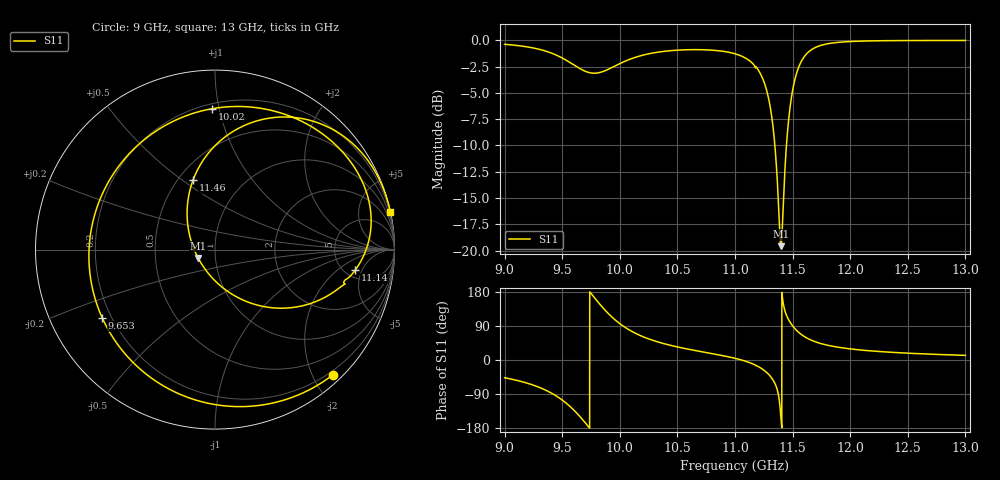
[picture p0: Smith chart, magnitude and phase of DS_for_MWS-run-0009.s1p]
! TOUCHSTONE file generated by CST DESIGN STUDIO
! Date and time: Tue Feb  4 18:08:22 2025
! Project name: C:\Work\MatlabApps\UnitCellOptimizationMatlab\CST\unitcell.cst
! Tree item: Tasks\Sweep1\SPara1\S-Parameters
! Header version: 2024
! Port assignment regex: !\s*Touchstone port\s*([0-9]+)\s*=\s*(CST MWS port|CST DES external port|CST DES block port)\s*(.+)\s* \(\"(.*)\"\)(\s*mode\s*([0-9]+))?.*
! Touchstone port assignment:
! Touchstone port 1 = CST DES external port 1 ("")
# GHz S MA R 50
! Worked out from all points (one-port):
!   4001 points, 9 GHz to 13 GHz, reference 50 ohm
!   lowest |S11| = -19.6 dB at 11.4 GHz (marker M1), VSWR 1.23, Z = 41.3 - j3.94 ohm
!   |S11| at or under -10 dB: 11.35 GHz to 11.45 GHz (100.3 MHz wide, 0.88 % of centre)
!   S11 on the Smith chart (normalised r, x): 9 GHz: 0.14, -2.30; 9.653 GHz: 0.16, -0.27; 10.02 GHz: 0.23, +0.95; 11.14 GHz: 6.25, -3.75; 11.46 GHz: 0.59, +0.55; 13 GHz: 0.03, +9.36
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9  0.958 -46.8
9.268  0.9156 -68.4
9.4  0.8727 -86.3
9.5  0.8244 -105.6
9.577  0.779 -125.1
9.653  0.7345 -148.8
9.725  0.705 -174.8
9.795  0.6986 158.7
9.897  0.7273 123.5
10  0.7753 95.9
10.021  0.785 91.3
10.235  0.8596 57.4
10.5  0.8984 34.5
10.755  0.9013 19.4
11  0.8635 4.5
11.138  0.7905 -8.2
11.227  0.6829 -21.8
11.302  0.4953 -41.3
11.352  0.289 -65.5
11.385  0.1342 -107.8
11.399  0.1049 -153.3
11.463  0.4057 107.6
11.5  0.5782 90.0
11.574  0.7915 67.7
11.695  0.9238 48.3
12  0.9876 29.3
12.5  0.9984 18.0
13  0.9992 12.2
